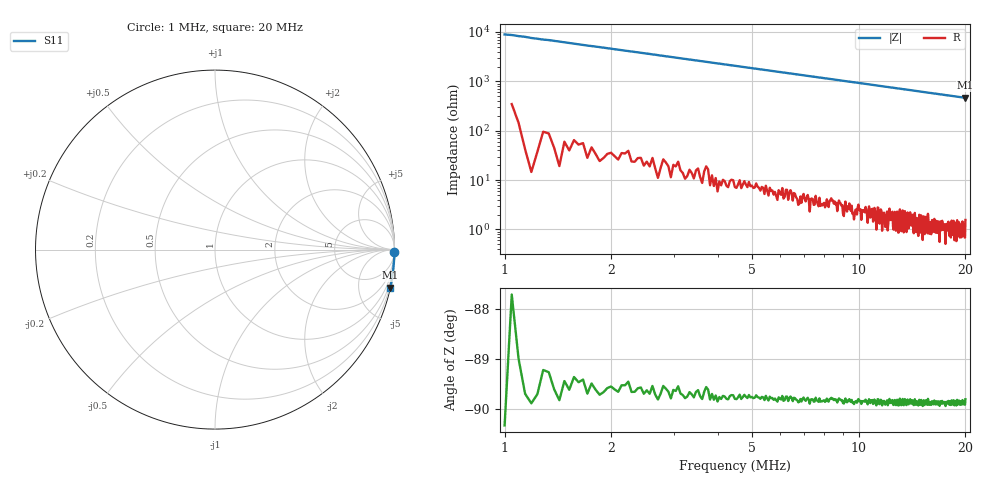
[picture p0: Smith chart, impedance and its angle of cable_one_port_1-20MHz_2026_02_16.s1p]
# HZ S RI R 50
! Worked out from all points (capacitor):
!   401 points, 1 MHz to 20 MHz, reference 50 ohm
!   read as one part to ground: C = 17.4 pF near 1.095 MHz
!   lowest |Z| = 464 ohm at 20 MHz (marker M1)
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1000000  1 -0.0112
1047500  0.9995 -0.0115
1142500  0.9999 -0.0125
1807500  0.9997 -0.0197
3375000  0.9991 -0.0365
3755000  0.9989 -0.0406
3992500  0.999 -0.0431
5750000  0.9979 -0.062
6795000  0.9971 -0.0731
7460000  0.9966 -0.0801
8125000  0.9959 -0.0873
8362500  0.9956 -0.0899
9455000  0.9946 -0.1015
9692500  0.9944 -0.104
1.0025e7  0.9939 -0.1077
1.05e7  0.9933 -0.1127
1.19725e7  0.9914 -0.1283
1.2875e7  0.9901 -0.1378
1.4585e7  0.9873 -0.1561
1.525e7  0.9861 -0.1631
1.5915e7  0.985 -0.1701
1.7625e7  0.9817 -0.1883
1.7815e7  0.9814 -0.1903
1.81475e7  0.9807 -0.1936
1.93825e7  0.9779 -0.2065
1.98575e7  0.9769 -0.2114
1.9905e7  0.977 -0.212
2e7  0.9764 -0.2127
